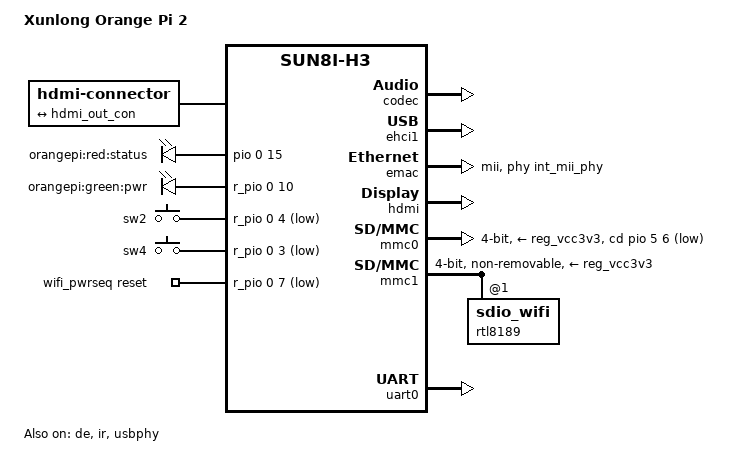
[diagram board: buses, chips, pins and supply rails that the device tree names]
/*
 * Copyright (C) 2016 Hans de Goede <hdegoede@redhat.com>
 *
 * This file is dual-licensed: you can use it either under the terms
 * of the GPL or the X11 license, at your option. Note that this dual
 * licensing only applies to this file, and not this project as a
 * whole.
 *
 *  a) This file is free software; you can redistribute it and/or
 *     modify it under the terms of the GNU General Public License as
 *     published by the Free Software Foundation; either version 2 of the
 *     License, or (at your option) any later version.
 *
 *     This file is distributed in the hope that it will be useful,
 *     but WITHOUT ANY WARRANTY; without even the implied warranty of
 *     MERCHANTABILITY or FITNESS FOR A PARTICULAR PURPOSE.  See the
 *     GNU General Public License for more details.
 *
 * Or, alternatively,
 *
 *  b) Permission is hereby granted, free of charge, to any person
 *     obtaining a copy of this software and associated documentation
 *     files (the "Software"), to deal in the Software without
 *     restriction, including without limitation the rights to use,
 *     copy, modify, merge, publish, distribute, sublicense, and/or
 *     sell copies of the Software, and to permit persons to whom the
 *     Software is furnished to do so, subject to the following
 *     conditions:
 *
 *     The above copyright notice and this permission notice shall be
 *     included in all copies or substantial portions of the Software.
 *
 *     THE SOFTWARE IS PROVIDED "AS IS", WITHOUT WARRANTY OF ANY KIND,
 *     EXPRESS OR IMPLIED, INCLUDING BUT NOT LIMITED TO THE WARRANTIES
 *     OF MERCHANTABILITY, FITNESS FOR A PARTICULAR PURPOSE AND
 *     NONINFRINGEMENT. IN NO EVENT SHALL THE AUTHORS OR COPYRIGHT
 *     HOLDERS BE LIABLE FOR ANY CLAIM, DAMAGES OR OTHER LIABILITY,
 *     WHETHER IN AN ACTION OF CONTRACT, TORT OR OTHERWISE, ARISING
 *     FROM, OUT OF OR IN CONNECTION WITH THE SOFTWARE OR THE USE OR
 *     OTHER DEALINGS IN THE SOFTWARE.
 */

/dts-v1/;
#include "sun8i-h3.dtsi"
#include "sunxi-common-regulators.dtsi"

#include <dt-bindings/gpio/gpio.h>
#include <dt-bindings/input/input.h>

/ {
	model = "Xunlong Orange Pi 2";
	compatible = "xunlong,orangepi-2", "allwinner,sun8i-h3";

	aliases {
		serial0 = &uart0;
		/* ethernet0 is the H3 emac, defined in sun8i-h3.dtsi */
		ethernet0 = &emac;
		ethernet1 = &rtl8189;
	};

	chosen {
		stdout-path = "serial0:115200n8";
	};

	connector {
		compatible = "hdmi-connector";
		type = "a";

		port {
			hdmi_con_in: endpoint {
				remote-endpoint = <&hdmi_out_con>;
			};
		};
	};

	leds {
		compatible = "gpio-leds";

		status_led {
			label = "orangepi:red:status";
			gpios = <&pio 0 15 GPIO_ACTIVE_HIGH>;
		};

		pwr_led {
			label = "orangepi:green:pwr";
			gpios = <&r_pio 0 10 GPIO_ACTIVE_HIGH>;
			default-state = "on";
		};
	};

	r_gpio_keys {
		compatible = "gpio-keys";

		sw2 {
			label = "sw2";
			linux,code = <BTN_1>;
			gpios = <&r_pio 0 4 GPIO_ACTIVE_LOW>;
		};

		sw4 {
			label = "sw4";
			linux,code = <KEY_POWER>;
			gpios = <&r_pio 0 3 GPIO_ACTIVE_LOW>;
			wakeup-source;
		};
	};

	wifi_pwrseq: wifi_pwrseq {
		compatible = "mmc-pwrseq-simple";
		reset-gpios = <&r_pio 0 7 GPIO_ACTIVE_LOW>; /* PL7 WIFI_EN */
	};
};

&codec {
	allwinner,pa-gpios = <&pio 0 16 GPIO_ACTIVE_HIGH>; /* PA16 */
	allwinner,audio-routing =
		"Speaker", "LINEOUT",
		"MIC1", "Mic",
		"Mic",  "MBIAS";
	status = "okay";
};

&de {
	status = "okay";
};

&ehci1 {
	status = "okay";
};

&emac {
	phy-handle = <&int_mii_phy>;
	phy-mode = "mii";
	allwinner,leds-active-low;
	status = "okay";
};

&hdmi {
	status = "okay";
};

&hdmi_out {
	hdmi_out_con: endpoint {
		remote-endpoint = <&hdmi_con_in>;
	};
};

&ir {
	pinctrl-names = "default";
	pinctrl-0 = <&r_ir_rx_pin>;
	status = "okay";
};

&mmc0 {
	vmmc-supply = <&reg_vcc3v3>;
	bus-width = <4>;
	cd-gpios = <&pio 5 6 GPIO_ACTIVE_LOW>; /* PF6 */
	status = "okay";
};

&mmc1 {
	vmmc-supply = <&reg_vcc3v3>;
	mmc-pwrseq = <&wifi_pwrseq>;
	bus-width = <4>;
	non-removable;
	status = "okay";

	/*
	 * Explicitly define the sdio device, so that we can add an ethernet
	 * alias for it (which e.g. makes u-boot set a mac-address).
	 */
	rtl8189: sdio_wifi@1 {
		reg = <1>;
	};
};

&reg_usb1_vbus {
	gpio = <&pio 6 13 GPIO_ACTIVE_HIGH>;
	status = "okay";
};

&uart0 {
	pinctrl-names = "default";
	pinctrl-0 = <&uart0_pa_pins>;
	status = "okay";
};

&uart1 {
	pinctrl-names = "default";
	pinctrl-0 = <&uart1_pins>;
	status = "disabled";
};

&uart2 {
	pinctrl-names = "default";
	pinctrl-0 = <&uart2_pins>;
	status = "disabled";
};

&uart3 {
	pinctrl-names = "default";
	pinctrl-0 = <&uart3_pins>;
	status = "disabled";
};

&usbphy {
	usb1_vbus-supply = <&reg_usb1_vbus>;
	status = "okay";
};
